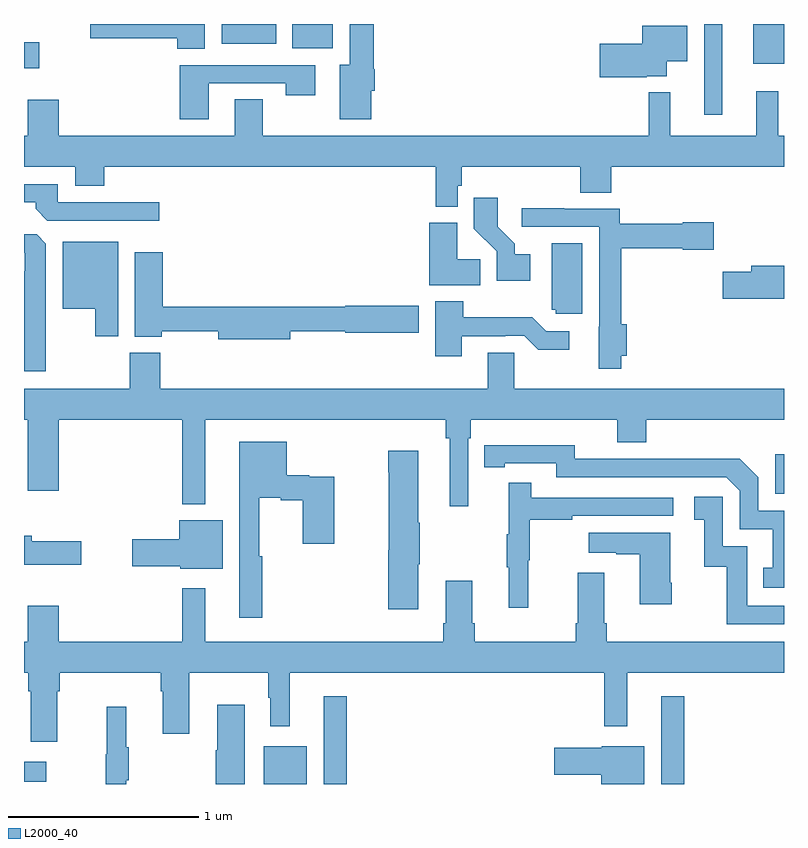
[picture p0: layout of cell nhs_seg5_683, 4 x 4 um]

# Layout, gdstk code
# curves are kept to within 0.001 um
import gdstk
lib = gdstk.Library(unit=1e-6, precision=1e-09)
def R(c, l, rs):  # rectangles x0, y0, x1, y1
    for r in rs: c.add(gdstk.rectangle(r[:2], r[2:], *l))
def P(c, l, *ps):  # polygons
    for p in ps: c.add(gdstk.Polygon(p, *l))
L2000_40 = (2000, 40)

nhs_seg5_683 = lib.new_cell('nhs_seg5_683')
R(nhs_seg5_683, L2000_40, [(154.262,898.799,154.489,898.999), (154.577,898.799,154.699,899.26), (156.353,898.799,156.475,899.26), (153,898.811,153.118,898.915), (156.954,900.327,157,900.535), (156.579,902.322,156.676,902.799), (153,902.567,153.079,902.702), (156.839,902.591,157,902.799), (154.412,902.672,154.624,902.799), (154.04,902.696,154.327,902.799)])
P(nhs_seg5_683, L2000_40, [(153.952,902.799),(153.348,902.799),(153.348,902.723),(153.806,902.723),(153.806,902.668),(153.952,902.668)],
  [(154.828,902.448),(154.846,902.448),(154.846,902.562),(154.841,902.562),(154.841,902.799),(154.715,902.799),(154.715,902.584),(154.661,902.584),(154.661,902.298),(154.828,902.298)],
  [(156.278,902.525),(156.382,902.525),(156.382,902.603),(156.49,902.603),(156.49,902.791),(156.254,902.791),(156.254,902.696),(156.03,902.696),(156.03,902.52),(156.278,902.52)],
  [(153.973,902.487),(154.378,902.487),(154.378,902.424),(154.534,902.424),(154.534,902.583),(153.821,902.583),(153.821,902.298),(153.973,902.298)],
  [(155.283,901.947),(155.303,901.947),(155.303,902.048),(155.927,902.048),(155.927,901.912),(156.092,901.912),(156.092,902.048),(157,902.048),(157,902.212),(156.971,902.212),(156.971,902.446),(156.854,902.446),(156.854,902.212),(156.401,902.212),(156.401,902.44),(156.288,902.44),(156.288,902.212),(154.257,902.212),(154.257,902.402),(154.109,902.402),(154.109,902.212),(153.184,902.212),(153.184,902.401),(153.02,902.401),(153.02,902.212),(153,902.212),(153,902.048),(153.269,902.048),(153.269,901.949),(153.422,901.949),(153.422,902.048),(155.167,902.048),(155.167,901.838),(155.283,901.838)],
  [(153.712,901.86),(153.177,901.86),(153.177,901.956),(153,901.956),(153,901.86),(153.062,901.86),(153.062,901.826),(153.123,901.764),(153.712,901.764)],
  [(155.665,901.588),(155.584,901.588),(155.584,901.643),(155.494,901.733),(155.494,901.885),(155.368,901.885),(155.368,901.722),(155.487,901.603),(155.487,901.448),(155.665,901.448)],
  [(156.143,901.052),(156.173,901.052),(156.173,901.218),(156.143,901.218),(156.143,901.618),(156.468,901.618),(156.468,901.61),(156.631,901.61),(156.631,901.755),(156.468,901.755),(156.468,901.747),(156.136,901.747),(156.136,901.827),(155.843,901.827),(155.843,901.83),(155.619,901.83),(155.619,901.731),(156.027,901.731),(156.027,901.206),(156.026,901.206),(156.026,900.984),(156.143,900.984)],
  [(155.402,901.562),(155.281,901.562),(155.281,901.753),(155.132,901.753),(155.132,901.424),(155.402,901.424)],
  [(153.115,901.643),(153.066,901.692),(153,901.692),(153,901.596),(153.003,901.596),(153.003,901.499),(153,901.499),(153,900.971),(153.115,900.971)],
  [(153.496,901.654),(153.203,901.654),(153.203,901.301),(153.374,901.301),(153.374,901.155),(153.496,901.155)],
  [(155.938,901.645),(155.777,901.645),(155.777,901.296),(155.799,901.296),(155.799,901.275),(155.938,901.275)],
  [(154.402,901.182),(154.692,901.182),(154.692,901.174),(155.077,901.174),(155.077,901.316),(154.692,901.316),(154.692,901.31),(153.731,901.31),(153.731,901.597),(153.584,901.597),(153.584,901.154),(153.726,901.154),(153.726,901.182),(154.022,901.182),(154.022,901.139),(154.402,901.139)],
  [(157,901.526),(156.827,901.526),(156.827,901.496),(156.678,901.496),(156.678,901.354),(157,901.354)],
  [(155.305,901.155),(155.534,901.155),(155.534,901.158),(155.634,901.158),(155.707,901.085),(155.869,901.085),(155.869,901.182),(155.748,901.182),(155.675,901.255),(155.313,901.255),(155.313,901.339),(155.165,901.339),(155.165,901.05),(155.305,901.05)],
  [(155.337,900.62),(155.351,900.62),(155.351,900.716),(156.122,900.716),(156.122,900.599),(156.275,900.599),(156.275,900.716),(157,900.716),(157,900.88),(155.58,900.88),(155.58,901.07),(155.441,901.07),(155.441,900.88),(153.716,900.88),(153.716,901.069),(153.556,901.069),(153.556,900.88),(153,900.88),(153,900.716),(153.02,900.716),(153.02,900.342),(153.184,900.342),(153.184,900.716),(153.834,900.716),(153.834,900.272),(153.955,900.272),(153.955,900.716),(155.221,900.716),(155.221,900.62),(155.24,900.62),(155.24,900.261),(155.337,900.261)],
  [(154.255,899.997),(154.237,899.997),(154.237,900.305),(154.352,900.305),(154.352,900.293),(154.466,900.293),(154.466,900.063),(154.632,900.063),(154.632,900.415),(154.5,900.415),(154.5,900.423),(154.384,900.423),(154.384,900.601),(154.133,900.601),(154.133,899.673),(154.255,899.673)],
  [(157,900.237),(156.864,900.237),(156.864,900.414),(156.766,900.512),(156.358,900.512),(156.358,900.51),(155.898,900.51),(155.898,900.583),(155.422,900.582),(155.422,900.466),(155.53,900.466),(155.53,900.486),(155.802,900.486),(155.802,900.414),(156.696,900.414),(156.768,900.342),(156.768,900.141),(156.941,900.141),(156.941,899.937),(156.892,899.937),(156.892,899.832),(157,899.832)],
  [(155.074,899.956),(155.082,899.956),(155.082,900.173),(155.074,900.173),(155.074,900.553),(154.916,900.553),(154.916,900.44),(154.921,900.44),(154.921,900.03),(154.916,900.03),(154.916,899.718),(155.074,899.718)],
  [(155.654,899.976),(155.662,899.976),(155.662,900.19),(155.885,900.19),(155.885,900.21),(156.418,900.21),(156.418,900.306),(155.669,900.306),(155.669,900.385),(155.552,900.385),(155.552,900.113),(155.541,900.113),(155.541,899.939),(155.552,899.939),(155.552,899.727),(155.654,899.727)],
  [(157,899.736),(156.807,899.736),(156.807,900.051),(156.678,900.051),(156.678,900.31),(156.528,900.31),(156.528,900.189),(156.581,900.189),(156.581,899.943),(156.699,899.943),(156.699,899.64),(157,899.64)],
  [(154.045,900.187),(153.818,900.187),(153.818,900.086),(153.57,900.086),(153.57,899.944),(153.822,899.944),(153.822,899.933),(154.045,899.933)],
  [(156.408,899.857),(156.4,899.857),(156.4,900.121),(155.973,900.121),(155.973,900.017),(156.116,900.017),(156.116,900.007),(156.242,900.007),(156.242,899.745),(156.408,899.745)],
  [(153.301,900.076),(153.04,900.076),(153.04,900.105),(153,900.105),(153,899.954),(153.301,899.954)],
  [(153.175,899.288),(153.188,899.288),(153.188,899.384),(153.719,899.384),(153.719,899.288),(153.731,899.288),(153.731,899.064),(153.871,899.064),(153.871,899.384),(154.285,899.384),(154.285,899.252),(154.295,899.252),(154.295,899.103),(154.399,899.103),(154.399,899.384),(156.054,899.384),(156.054,899.103),(156.175,899.103),(156.175,899.384),(157,899.384),(157,899.548),(156.068,899.548),(156.068,899.644),(156.055,899.644),(156.055,899.911),(155.915,899.911),(155.915,899.644),(155.903,899.644),(155.903,899.548),(155.372,899.548),(155.372,899.644),(155.359,899.644),(155.359,899.869),(155.219,899.869),(155.219,899.644),(155.207,899.644),(155.207,899.548),(153.955,899.548),(153.955,899.83),(153.834,899.83),(153.834,899.548),(153.184,899.548),(153.184,899.737),(153.02,899.737),(153.02,899.548),(153,899.548),(153,899.384),(153.023,899.384),(153.023,899.288),(153.035,899.288),(153.035,899.022),(153.175,899.022)],
  [(154.162,899.215),(154.016,899.215),(154.016,898.976),(154.009,898.976),(154.009,898.799),(154.162,898.799)],
  [(153.539,898.819),(153.55,898.819),(153.55,898.993),(153.539,898.993),(153.539,899.206),(153.436,899.206),(153.436,898.956),(153.429,898.956),(153.429,898.799),(153.539,898.799)],
  [(156.265,898.999),(156.042,898.999),(156.042,898.989),(155.79,898.989),(155.79,898.847),(156.038,898.847),(156.038,898.799),(156.265,898.799)])

lib.write_gds('nhs_seg5_683.gds')
